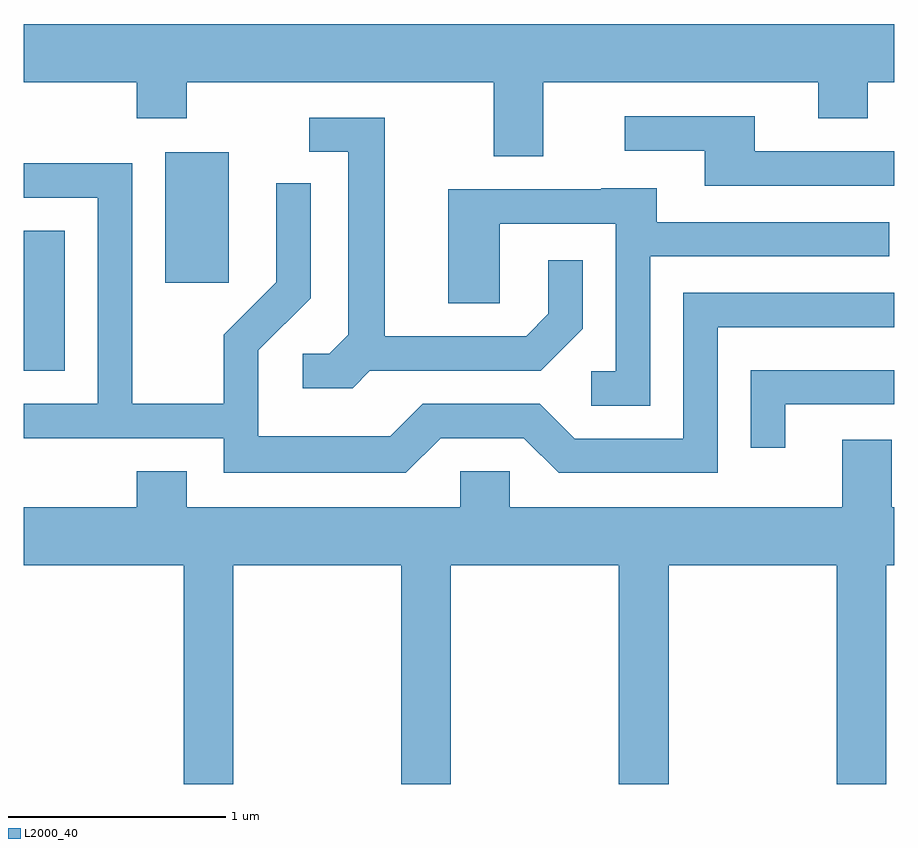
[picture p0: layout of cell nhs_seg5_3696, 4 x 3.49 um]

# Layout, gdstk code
import gdstk
lib = gdstk.Library(unit=1e-6, precision=1e-09)
def R(c, l, rs):  # rectangles x0, y0, x1, y1
    for r in rs: c.add(gdstk.rectangle(r[:2], r[2:], *l))
def P(c, l, *ps):  # polygons
    for p in ps: c.add(gdstk.Polygon(p, *l))
L2000_40 = (2000, 40)

nhs_seg5_3696 = lib.new_cell('nhs_seg5_3696')
R(nhs_seg5_3696, L2000_40, [(295.611,1399.971,295.799,1400.614), (296.261,1400.376,296.554,1400.974)])
P(nhs_seg5_3696, L2000_40, [(297.999,1401.296),(299.261,1401.296),(299.261,1401.131),(299.489,1401.131),(299.489,1401.296),(299.611,1401.296),(299.611,1401.564),(295.611,1401.564),(295.611,1401.296),(296.131,1401.296),(296.131,1401.131),(296.359,1401.131),(296.359,1401.296),(297.771,1401.296),(297.771,1400.956),(297.999,1400.956)],
  [(299.611,1400.979),(298.969,1400.979),(298.969,1401.139),(298.373,1401.139),(298.373,1400.981),(298.741,1400.981),(298.741,1400.821),(299.611,1400.821)],
  [(297.202,1399.971),(297.987,1399.971),(298.179,1400.164),(298.179,1400.478),(298.021,1400.478),(298.021,1400.232),(297.919,1400.129),(297.269,1400.129),(297.269,1401.134),(296.923,1401.134),(296.923,1400.976),(297.101,1400.976),(297.101,1400.137),(297.014,1400.049),(296.893,1400.049),(296.893,1399.891),(297.122,1399.891)],
  [(297.527,1399.661),(297.909,1399.661),(298.069,1399.501),(298.799,1399.501),(298.799,1400.171),(299.611,1400.171),(299.611,1400.329),(298.641,1400.329),(298.641,1399.659),(298.142,1399.659),(297.982,1399.819),(297.444,1399.819),(297.294,1399.669),(296.689,1399.669),(296.689,1400.064),(296.929,1400.304),(296.929,1400.833),(296.771,1400.833),(296.771,1400.377),(296.531,1400.137),(296.531,1399.819),(296.109,1399.819),(296.109,1400.924),(295.611,1400.924),(295.611,1400.766),(295.951,1400.766),(295.951,1399.819),(295.611,1399.819),(295.611,1399.661),(296.531,1399.661),(296.531,1399.501),(297.367,1399.501)],
  [(298.489,1400.496),(299.588,1400.496),(299.588,1400.654),(298.519,1400.654),(298.519,1400.809),(298.265,1400.809),(298.265,1400.804),(297.561,1400.804),(297.561,1400.281),(297.799,1400.281),(297.799,1400.646),(298.331,1400.646),(298.331,1399.969),(298.218,1399.969),(298.218,1399.811),(298.489,1399.811)],
  [(299.109,1399.816),(299.611,1399.816),(299.611,1399.974),(298.951,1399.974),(298.951,1399.618),(299.109,1399.618)],
  [(296.574,1399.076),(297.346,1399.076),(297.346,1398.072),(297.574,1398.072),(297.574,1399.076),(298.346,1399.076),(298.346,1398.072),(298.574,1398.072),(298.574,1399.076),(299.346,1399.076),(299.346,1398.072),(299.574,1398.072),(299.574,1399.076),(299.611,1399.076),(299.611,1399.344),(299.599,1399.344),(299.599,1399.654),(299.371,1399.654),(299.371,1399.344),(297.844,1399.344),(297.844,1399.509),(297.616,1399.509),(297.616,1399.344),(296.359,1399.344),(296.359,1399.509),(296.131,1399.509),(296.131,1399.344),(295.611,1399.344),(295.611,1399.076),(296.346,1399.076),(296.346,1398.072),(296.574,1398.072)])

lib.write_gds('nhs_seg5_3696.gds')
